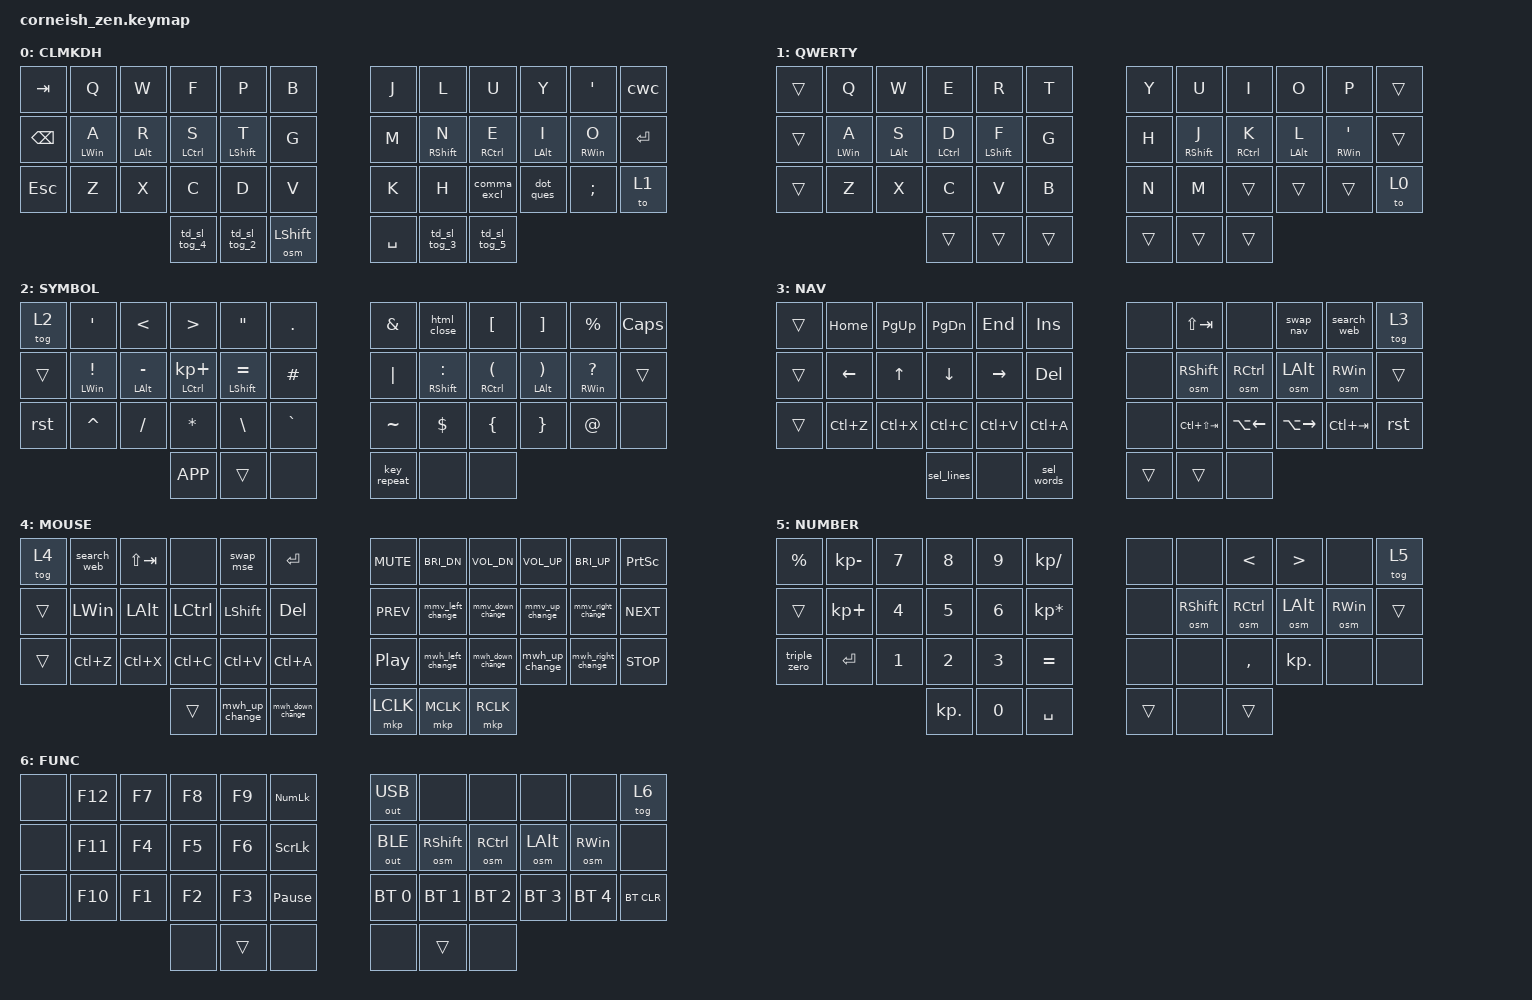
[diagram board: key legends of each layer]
/*
*
* Copyright (c) 2021 Darryl deHaan
* SPDX-License-Identifier: MIT
*
*/

#include <behaviors.dtsi>
#include <dt-bindings/zmk/keys.h>
#include <dt-bindings/zmk/outputs.h>
#include <dt-bindings/zmk/bt.h>
#include <dt-bindings/zmk/mouse.h>
&mmv {    
    time-to-max-speed-ms = <500>;
    acceleration-exponent=<1>;
};
&mwh {    
    time-to-max-speed-ms = <2000>;
    acceleration-exponent=<0>;
};
&sl {
    release-after-ms = <1000>;
};

/ {
    chosen {
        zmk,matrix_transform = &default_transform;

        // zmk,matrix_transform = &five_column_transform;
    };
};

/ {
    combos {
        compatible = "zmk,combos";

        combo_minus {
            bindings = <&kp MINUS>;
            key-positions = <32 33>;
            timeout-ms = <50>;
            layers = <0 1>;
        };

        combo_mo_tog_6 {
            bindings = <&td_sl_tog_6>;
            key-positions = <37 40>;
            timeout-ms = <100>;
            layers = <0 1>;
        };

        combo_html_cmt_open {
            bindings = <&html_cmt_open>;
            key-positions = <2 40>;
            timeout-ms = <100>;
            layers = <2>;
        };

        combo_html_cmt_close {
            bindings = <&html_cmt_close>;
            key-positions = <3 40>;
            timeout-ms = <100>;
            layers = <2>;
        };
    };

    behaviors {
        mtl: mod_tap_left {
            compatible = "zmk,behavior-hold-tap";
            label = "MOD_TAP_LEFT";
            bindings =
                <&kp>,
                <&kp>;

            #binding-cells = <2>;
            tapping-term-ms = <300>;
            quick-tap-ms = <200>;
            global-quick-tap;
            flavor = "tap-preferred";
            hold-trigger-key-positions = <6 7 8 9 10 18 19 20 21 22 23 30 31 32 33 34 39>;
            hold-trigger-on-release;
        };
        mtr: mod_tap_right {
            compatible = "zmk,behavior-hold-tap";
            label = "MOD_TAP_RIGHT";
            bindings =
                <&kp>,
                <&kp>;

            #binding-cells = <2>;
            tapping-term-ms = <300>;
            quick-tap-ms = <200>;
            global-quick-tap;
            flavor = "tap-preferred";
            hold-trigger-key-positions = <0 1 2 3 4 5 12 13 14 15 16 17 24 25 26 27 28 29>;
            hold-trigger-on-release;
        };

        comma_excl: comma_excl {
            compatible = "zmk,behavior-mod-morph";
            label = "COMMA_EXCL";
            bindings =
                <&kp COMMA>,
                <&kp EXCL>;

            #binding-cells = <0>;
            mods = <(MOD_LSFT|MOD_RSFT)>;
        };
        dot_ques: dot_ques {
            compatible = "zmk,behavior-mod-morph";
            label = "DOT_QUES";
            bindings =
                <&kp DOT>,
                <&kp QMARK>;

            #binding-cells = <0>;
            mods = <(MOD_LSFT|MOD_RSFT)>;
        };

        osm: one_shot_mod {
            compatible = "zmk,behavior-sticky-key";
            label = "ONE_SHOT_MOD";
            bindings = <&kp>;
            #binding-cells = <1>;
            release-after-ms = <1000>;
            quick-release;
            ignore-modifiers;
        };
        cwc: caps_word_custom {
            compatible = "zmk,behavior-caps-word";
            label = "CAPS_WORD_CUSTOM";
            #binding-cells = <0>;
            continue-list = <MINUS UNDER BSPC DEL>;
            mods = <(MOD_LSFT)>;
        };
        rst: reset_bootloader {
            compatible = "zmk,behavior-tap-dance";
            label = "RESET_BOOTLOADER";
            #binding-cells = <0>;
            tapping-term-ms = <200>;
            bindings =
                <&none>,
                <&sys_reset>,
                <&bootloader>;
        };

        sel_words: sel_words {
            compatible = "zmk,behavior-mod-morph";
            label = "SEL_WORDS";
            bindings =
                <&sel_word>,
                <&kp LC(LS(RIGHT))>;

            #binding-cells = <0>;
            mods = <(MOD_LSFT|MOD_RSFT)>;
        };
        sel_lines: sel_lines {
            compatible = "zmk,behavior-mod-morph";
            label = "SEL_LINES";
            bindings =
                <&sel_line>,
                <&kp LS(DOWN)>;

            #binding-cells = <0>;
            mods = <(MOD_LSFT|MOD_RSFT)>;
        };

        mmv_left_change: mmv_left_change {
            compatible = "zmk,behavior-mod-morph";
            label = "MMV_LEFT_CHANGE";
            bindings =
                <&mmv MOVE_HOR(-1000)>,
                <&mmv_left_slow_fast>;

            #binding-cells = <0>;
            mods = <(MOD_LSFT|MOD_RSFT|MOD_LCTL|MOD_RCTL)>;
            keep-mods = <(MOD_LSFT|MOD_RSFT)>;
        };
        mmv_left_slow_fast: mmv_left_slow_fast {
            compatible = "zmk,behavior-mod-morph";
            label = "MMV_LEFT_SLOW_FAST";
            bindings =
                <&mmv MOVE_HOR(-250)>,
                <&mmv MOVE_HOR(-3000)>;

            #binding-cells = <0>;
            mods = <(MOD_LSFT|MOD_RSFT)>;
        };
        mmv_down_change: mmv_down_change {
            compatible = "zmk,behavior-mod-morph";
            label = "MMV_DOWN_CHANGE";
            bindings =
                <&mmv MOVE_VERT(1000)>,
                <&mmv_down_slow_fast>;

            #binding-cells = <0>;
            mods = <(MOD_LSFT|MOD_RSFT|MOD_LCTL|MOD_RCTL)>;
            keep-mods = <(MOD_LSFT|MOD_RSFT)>;
        };
        mmv_down_slow_fast: mmv_down_slow_fast {
            compatible = "zmk,behavior-mod-morph";
            label = "MMV_DOWN_SLOW_FAST";
            bindings =
                <&mmv MOVE_VERT(250)>,
                <&mmv MOVE_VERT(3000)>;

            #binding-cells = <0>;
            mods = <(MOD_LSFT|MOD_RSFT)>;
        };
        mmv_up_change: mmv_up_change {
            compatible = "zmk,behavior-mod-morph";
            label = "MMV_UP_CHANGE";
            bindings =
                <&mmv MOVE_VERT(-1000)>,
                <&mmv_up_slow_fast>;

            #binding-cells = <0>;
            mods = <(MOD_LSFT|MOD_RSFT|MOD_LCTL|MOD_RCTL)>;
            keep-mods = <(MOD_LSFT|MOD_RSFT)>;
        };
        mmv_up_slow_fast: mmv_up_slow_fast {
            compatible = "zmk,behavior-mod-morph";
            label = "MMV_UP_SLOW_FAST";
            bindings =
                <&mmv MOVE_VERT(-250)>,
                <&mmv MOVE_VERT(-3000)>;

            #binding-cells = <0>;
            mods = <(MOD_LSFT|MOD_RSFT)>;
        };
        mmv_right_change: mmv_right_change {
            compatible = "zmk,behavior-mod-morph";
            label = "MMV_RIGHT_CHANGE";
            bindings =
                <&mmv MOVE_HOR(1000)>,
                <&mmv_right_slow_fast>;

            #binding-cells = <0>;
            mods = <(MOD_LSFT|MOD_RSFT|MOD_LCTL|MOD_RCTL)>;
            keep-mods = <(MOD_LSFT|MOD_RSFT)>;
        };
        mmv_right_slow_fast: mmv_right_slow_fast {
            compatible = "zmk,behavior-mod-morph";
            label = "MMV_RIGHT_SLOW_FAST";
            bindings =
                <&mmv MOVE_HOR(250)>,
                <&mmv MOVE_HOR(3000)>;

            #binding-cells = <0>;
            mods = <(MOD_LSFT|MOD_RSFT)>;
        };
        
        mwh_left_change: mwh_left_change {
            compatible = "zmk,behavior-tap-dance";
            label = "MWH_LEFT_CHANGE";
            #binding-cells = <0>;
            tapping-term-ms = <300>;
            bindings =
                <&mwh SCROLL_HOR(-15)>,
                <&mwh SCROLL_HOR(-75)>;
        };
        mwh_down_change: mwh_down_change {
            compatible = "zmk,behavior-tap-dance";
            label = "MWH_DOWN_CHANGE";
            #binding-cells = <0>;
            tapping-term-ms = <300>;
            bindings =
                <&mwh SCROLL_VERT(-15)>,
                <&mwh SCROLL_VERT(-75)>;
        };
        mwh_up_change: mwh_up_change {
            compatible = "zmk,behavior-tap-dance";
            label = "MWH_UP_CHANGE";
            #binding-cells = <0>;
            tapping-term-ms = <300>;
            bindings =
                <&mwh SCROLL_VERT(15)>,
                <&mwh SCROLL_VERT(75)>;
        };
        mwh_right_change: mwh_right_change {
            compatible = "zmk,behavior-tap-dance";
            label = "MWH_RIGHT_CHANGE";
            #binding-cells = <0>;
            tapping-term-ms = <300>;
            bindings =
                <&mwh SCROLL_HOR(15)>,
                <&mwh SCROLL_HOR(75)>;
        };

        td_sl_tog_2: td_sl_tog_2 {
            compatible = "zmk,behavior-tap-dance";
            label = "TD_SL_TOG_2";
            #binding-cells = <0>;
            tapping-term-ms = <300>;
            bindings =
                <&sl 2>,
                <&tog 2>;
        };
        td_sl_tog_3: td_sl_tog_3 {
            compatible = "zmk,behavior-tap-dance";
            label = "TD_SL_TOG_3";
            #binding-cells = <0>;
            tapping-term-ms = <300>;
            bindings =
                <&sl 3>,
                <&tog 3>;
        };
        td_sl_tog_4: td_sl_tog_4 {
            compatible = "zmk,behavior-tap-dance";
            label = "TD_SL_TOG_4";
            #binding-cells = <0>;
            tapping-term-ms = <300>;
            bindings =
                <&sl 4>,
                <&tog 4>;
        };
        td_sl_tog_5: td_sl_tog_5 {
            compatible = "zmk,behavior-tap-dance";
            label = "TD_SL_TOG_5";
            #binding-cells = <0>;
            tapping-term-ms = <300>;
            bindings =
                <&sl 5>,
                <&tog 5>;
        };
        td_sl_tog_6: td_sl_tog_6 {
            compatible = "zmk,behavior-tap-dance";
            label = "TD_SL_TOG_6";
            #binding-cells = <0>;
            tapping-term-ms = <300>;
            bindings =
                <&sl 6>,
                <&tog 6>;
        };

        swap_nav: swapper_nav {
            compatible = "zmk,behavior-tri-state";
            label = "SWAPPER_NAV";
            #binding-cells = <0>;
            bindings = <&kt LALT>, <&kp TAB>, <&kt LALT>;
            ignored-key-positions = <7 13 14 15 16>;
        };
        swap_mse: swapper_mse {
            compatible = "zmk,behavior-tri-state";
            label = "SWAPPER_MSE";
            #binding-cells = <0>;
            bindings = <&kt LALT>, <&kp TAB>, <&kt LALT>;
            ignored-key-positions = <2>;
        };
    };

    macros {
        sel_word: sel_word {
            compatible = "zmk,behavior-macro";
            label = "SEL_WORD";
            #binding-cells = <0>;
            bindings =
                <&macro_press>,
                <&kp LCTRL>,
                <&macro_tap>,
                <&kp RIGHT &kp LEFT>,
                <&macro_press>,
                <&kp LSHFT>,
                <&macro_tap>,
                <&kp RIGHT>,
                <&macro_release>,
                <&kp LCTRL &kp LSHFT>;

            wait-ms = <50>;
            tap-ms = <50>;
        };
        sel_line: sel_line {
            compatible = "zmk,behavior-macro";
            label = "SEL_LINE";
            #binding-cells = <0>;
            bindings =
                <&macro_tap>,
                <&kp HOME>,
                <&macro_press>,
                <&kp LSHFT>,
                <&macro_tap>,
                <&kp END>,
                <&macro_release>,
                <&kp LSHFT>;

            wait-ms = <50>;
            tap-ms = <50>;
        };
        search_web: search_web {
            compatible = "zmk,behavior-macro";
            label = "SEARCH_WEB";
            #binding-cells = <0>;
            bindings =
                <&macro_tap>,
                <&kp LC(C) &kp LC(T)>,
                <&macro_wait_time 200>,
                <&macro_tap>,
                <&kp LC(V) &kp ENTER>;

            wait-ms = <50>;
            tap-ms = <50>;
        };

        triple_zero: triple_zero {
            compatible = "zmk,behavior-macro";
            label = "TRIPLE_ZERO";
            #binding-cells = <0>;
            bindings =
                <&macro_tap>,
                <&kp N0 &kp N0 &kp N0>;

            wait-ms = <50>;
            tap-ms = <50>;
        };
        html_close: html_close {
            compatible = "zmk,behavior-macro";
            label = "HTML_CLOSE";
            #binding-cells = <0>;
            bindings =
                <&macro_tap>,
                <&kp LT &kp FSLH>;

            wait-ms = <50>;
            tap-ms = <50>;
        };
        html_cmt_open: html_cmt_open {
            compatible = "zmk,behavior-macro";
            label = "HTML_CMT_OPEN";
            #binding-cells = <0>;
            bindings =
                <&macro_tap>,
                <&kp LT &kp EXCL &kp MINUS &kp MINUS>;

            wait-ms = <50>;
            tap-ms = <50>;
        };
        html_cmt_close: html_cmt_close {
            compatible = "zmk,behavior-macro";
            label = "HTML_CMT_CLOSE";
            #binding-cells = <0>;
            bindings =
                <&macro_tap>,
                <&kp MINUS &kp MINUS &kp GT>;

            wait-ms = <50>;
            tap-ms = <50>;
        };
    };

    keymap {
        compatible = "zmk,keymap";

        layer_0 {
            label = "CLMKDH";

            // --------------------------------------------------------------------------------
            // |  TAB |  Q  |  W  |  F  |  P  |  B  |   |  J  |  L  |  U  |  Y  |  '  | CAPW |
            // | BKSP |  A  |  R  |  S  |  T  |  G  |   |  M  |  N  |  E  |  I  |  O  | ENT  |
            // |  ESC |  Z  |  X  |  C  |  D  |  V  |   |  K  |  H  |  ,! -  .? |  ;  | to1  |
            //                    | sl4 | sl2 | OSS |   | SPC | sl3 | sl5 |

            bindings = <
 &kp TAB        &kp Q        &kp W         &kp F         &kp P       &kp B        &kp J         &kp L         &kp U        &kp Y      &kp SQT       &cwc
&kp BSPC  &mtl LWIN A  &mtl LALT R  &mtl LCTRL S  &mtl LSHFT T       &kp G        &kp M  &mtr RSHFT N  &mtr RCTRL E  &mtr LALT I  &mtr RWIN O  &kp ENTER
 &kp ESC        &kp Z        &kp X         &kp C         &kp D       &kp V        &kp K         &kp H   &comma_excl    &dot_ques     &kp SEMI      &to 1
                                    &td_sl_tog_4  &td_sl_tog_2  &osm LSHFT    &kp SPACE  &td_sl_tog_3  &td_sl_tog_5
            >;
        };

        layer_1 {
            label = "QWERTY";

            // --------------------------------------------------------------------------------
            // |  TAB |  Q  |  W  |  E  |  R  |  T  |   |  Y  |  U  |  I  |  O  |  P  | CAPW |
            // | BKSP |  A  |  S  |  D  |  F  |  G  |   |  H  |  J  |  K  |  L  |  '  | ENT  |
            // |  ESC |  Z  |  X  |  C  |  V  |  B  |   |  N  |  M  |  ,! -  .? |  ;  | to0  |
            //                    | sl4 | sl2 | OSS |   | SPC | sl3 | sl5 |

            bindings = <
&trans        &kp Q        &kp W         &kp E         &kp R   &kp T     &kp Y         &kp U         &kp I        &kp O          &kp P  &trans
&trans  &mtl LWIN A  &mtl LALT S  &mtl LCTRL D  &mtl LSHFT F   &kp G     &kp H  &mtr RSHFT J  &mtr RCTRL K  &mtr LALT L  &mtr RWIN SQT  &trans
&trans        &kp Z        &kp X         &kp C         &kp V   &kp B     &kp N         &kp M        &trans       &trans         &trans   &to 0
                                        &trans        &trans  &trans    &trans        &trans        &trans
            >;
        };

        layer_2 {
            label = "SYMBOL";

            // -----------------------------------------------------------------------------------------
            // | tog2 |  '  |  <  |  >  |  "  |  .  |   |  &  | </  |  [  |  ]  |  %  | CAPS |
            // | BKSP |  !  |  -  |  +  |  =  |  #  |   |  |  |  :  |  (  |  )  |  ?  | ENT  |
            // |  RST |  ^  |  /  |  *  |  \  |  `  |   |  ~  |  $  |  {  |  }  |  @  |      |
            //                    | APP | mo2 |     |   | RPT |     |     |

            bindings = <
&tog 2         &kp SQT           &kp LT              &kp GT           &kp DQT    &kp DOT       &kp AMPS       &html_close         &kp LBKT        &kp RBKT        &kp PRCNT  &kp CAPS
&trans  &mtl LWIN EXCL  &mtl LALT MINUS  &mtl LCTRL KP_PLUS  &mtl LSHFT EQUAL  &kp POUND       &kp PIPE  &mtr RSHFT COLON  &mtr RCTRL LPAR  &mtr LALT RPAR  &mtr RWIN QMARK    &trans
  &rst       &kp CARET         &kp FSLH            &kp STAR          &kp BSLH  &kp GRAVE      &kp TILDE          &kp DLLR         &kp LBRC        &kp RBRC           &kp AT     &none
                                                  &kp K_APP            &trans      &none    &key_repeat             &none            &none
            >;
        };

        layer_3 {
            label = "NAV";

            // --------------------------------------------------------------------------------
            // |  TAB | HME | PGU | PGD | END | INS |   |     | W<- | WSL | W-> | WEB | tog3 |
            // | BKSP | LFT |  UP | DWN | RGT | DEL |   |     | SFT | CTL | ALT | WIN | ENT  |
            // |  ESC |  Cz |  Cx |  Cc |  Cv |  Ca |   |     | CSt | A<- | A-> | Ct  | RST  |
            //                    | LIN |     | WRD |   | SPC | mo3 |     |

            bindings = <
&trans   &kp HOME  &kp PG_UP   &kp PG_DN    &kp END     &kp INS     &none      &kp LS(TAB)         &none      &swap_nav  &search_web  &tog 3
&trans   &kp LEFT     &kp UP    &kp DOWN  &kp RIGHT     &kp DEL     &none       &osm RSHFT    &osm RCTRL      &osm LALT    &osm RWIN  &trans
&trans  &kp LC(Z)  &kp LC(X)   &kp LC(C)  &kp LC(V)   &kp LC(A)     &none  &kp LC(LS(TAB))  &kp LA(LEFT)  &kp LA(RIGHT)  &kp LC(TAB)    &rst
                              &sel_lines      &none  &sel_words    &trans           &trans         &none
            >;
        };

        layer_4 {
            label = "MOUSE";

            // --------------------------------------------------------------------------------
            // | tog4 | WEB | W<- | WSL | W-> | ENT |   | MUT | BR- | VL- | VL+ | BR+ | PRSC |
            // | BKSP | WIN | ALT | CTL | SFT | DEL |   | PRV | m<- | m|v | m|^ | m-> | NXT  |
            // |  ESC |  Cz |  Cx |  Cc |  Cv |  Ca |   | PLY | w<- | w|v | w|^ | w-> | STP  |
            //                    | mo4 | w|^ | w|v |   | LCL | MCL | RCL |

            bindings = <
&tog 4  &search_web  &kp LS(TAB)      &none       &swap_mse         &kp ENTER    &kp C_MUTE      &kp C_BRI_DN      &kp C_VOL_DN    &kp C_VOL_UP       &kp C_BRI_UP   &kp PSCRN
&trans     &kp LWIN     &kp LALT  &kp LCTRL       &kp LSHFT           &kp DEL    &kp C_PREV  &mmv_left_change  &mmv_down_change  &mmv_up_change  &mmv_right_change  &kp C_NEXT
&trans    &kp LC(Z)    &kp LC(X)  &kp LC(C)       &kp LC(V)         &kp LC(A)      &kp C_PP  &mwh_left_change  &mwh_down_change  &mwh_up_change  &mwh_right_change  &kp C_STOP
                                     &trans  &mwh_up_change  &mwh_down_change     &mkp LCLK         &mkp MCLK         &mkp RCLK
            >;
        };

        layer_5 {
            label = "NUMBER";

            // --------------------------------------------------------------------------------
            // |   %  |  -  |  7  |  8  |  9  |  /  |   |     |     |  <  |  >  |     | tog5 |
            // | BKSP |  +  |  4  |  5  |  6  |  *  |   |     | SFT | CTL | ALT | WIN | ENT  |
            // |  000 | ENT |  1  |  2  |  3  |  =  |   |     |     |  ,  |  .  |     |      |
            //                    |  .  |  0  | SPC |   | SPC |     | mo5 |

            bindings = <
   &kp PRCNT  &kp KP_MINUS  &kp N7      &kp N8  &kp N9     &kp KP_SLASH     &none       &none      &kp LT      &kp GT      &none  &tog 5
      &trans   &kp KP_PLUS  &kp N4      &kp N5  &kp N6  &kp KP_MULTIPLY     &none  &osm RSHFT  &osm RCTRL   &osm LALT  &osm RWIN  &trans
&triple_zero     &kp ENTER  &kp N1      &kp N2  &kp N3        &kp EQUAL     &none       &none   &kp COMMA  &kp KP_DOT      &none   &none
                                    &kp KP_DOT  &kp N0        &kp SPACE    &trans       &none      &trans
            >;
        };

        layer_6 {
            label = "FUNC";

            // --------------------------------------------------------------------------------
            // |      | F12 |  F7 |  F8 |  F9 | NUM |   | USB |     |     |     |     | tog6 |
            // |      | F11 |  F4 |  F5 |  F6 | SCR |   | BLE | SFT | CTL | ALT | WIN |      |
            // |      | F10 |  F1 |  F2 |  F3 | PBR |   | BT0 | BT1 | BT2 | BT3 | BT4 | BTCL |
            //                    |     | mo6 |     |   |     | mo6 |     |

            bindings = <
&none  &kp F12  &kp F7  &kp F8  &kp F9       &kp KP_NUM    &out OUT_USB         &none         &none         &none         &none      &tog 6
&none  &kp F11  &kp F4  &kp F5  &kp F6         &kp SLCK    &out OUT_BLE    &osm RSHFT    &osm RCTRL     &osm LALT     &osm RWIN       &none
&none  &kp F10  &kp F1  &kp F2  &kp F3  &kp PAUSE_BREAK    &bt BT_SEL 0  &bt BT_SEL 1  &bt BT_SEL 2  &bt BT_SEL 3  &bt BT_SEL 4  &bt BT_CLR
                         &none  &trans            &none           &none        &trans         &none
            >;
        };
    };
};
